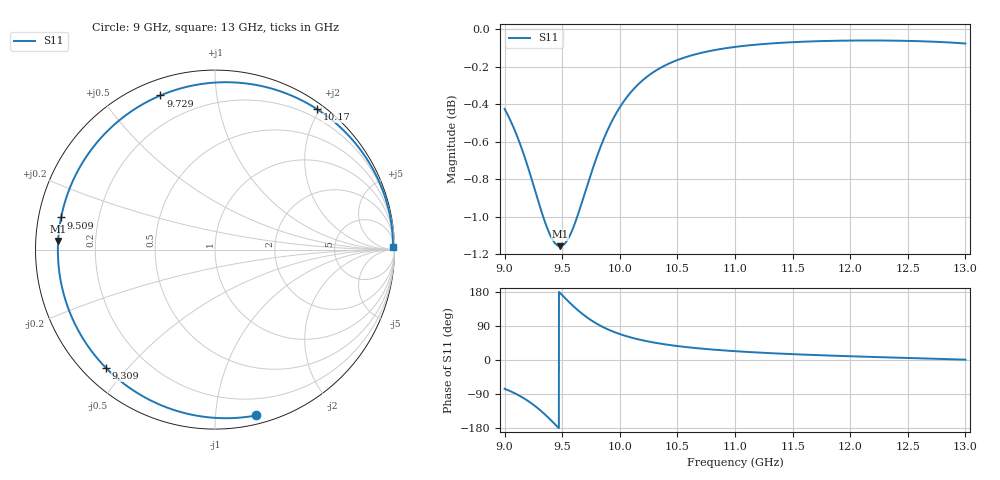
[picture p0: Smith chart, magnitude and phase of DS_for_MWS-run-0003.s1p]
! TOUCHSTONE file generated by CST DESIGN STUDIO
! Date and time: Tue Feb  4 17:25:07 2025
! Project name: C:\Work\MatlabApps\UnitCellOptimizationMatlab\CST\unitcell.cst
! Tree item: Tasks\Sweep1\SPara1\S-Parameters
! Header version: 2024
! Port assignment regex: !\s*Touchstone port\s*([0-9]+)\s*=\s*(CST MWS port|CST DES external port|CST DES block port)\s*(.+)\s* \(\"(.*)\"\)(\s*mode\s*([0-9]+))?.*
! Touchstone port assignment:
! Touchstone port 1 = CST DES external port 1 ("")
# GHz S MA R 50
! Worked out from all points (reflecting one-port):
!   4001 points, 9 GHz to 13 GHz, reference 50 ohm
!   lowest |S11| = -1.2 dB at 9.481 GHz (marker M1), VSWR 15.05, Z = 3.33 + j1.35 ohm
!   phase of S11 starts at -76 deg and turns -283 deg over the sweep
!   S11 on the Smith chart (normalised r, x): 9 GHz: 0.06, -1.28; 9.309 GHz: 0.07, -0.44; 9.509 GHz: 0.07, +0.10; 9.729 GHz: 0.07, +0.70; 10.17 GHz: 0.08, +1.96; 13 GHz: open
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9  0.9523 -76.0
9.078  0.9415 -86.3
9.176  0.9242 -102.7
9.245  0.91 -117.0
9.309  0.8964 -132.5
9.354  0.8878 -144.7
9.402  0.8805 -158.7
9.442  0.8766 -171.0
9.481  0.8754 176.9
9.5  0.8756 171.0
9.509  0.876 168.2
9.562  0.8805 152.1
9.622  0.8898 135.2
9.674  0.8998 121.9
9.729  0.9109 109.5
9.783  0.9215 98.8
9.843  0.9321 88.6
9.92  0.9436 77.7
10  0.9533 68.4
10.169  0.9674 53.9
10.32  0.9753 44.8
10.5  0.9813 36.8
10.722  0.9859 29.7
11  0.9892 23.3
11.5  0.9921 15.4
12  0.9931 9.9
12.5  0.9929 5.3
13  0.9913 0.9
